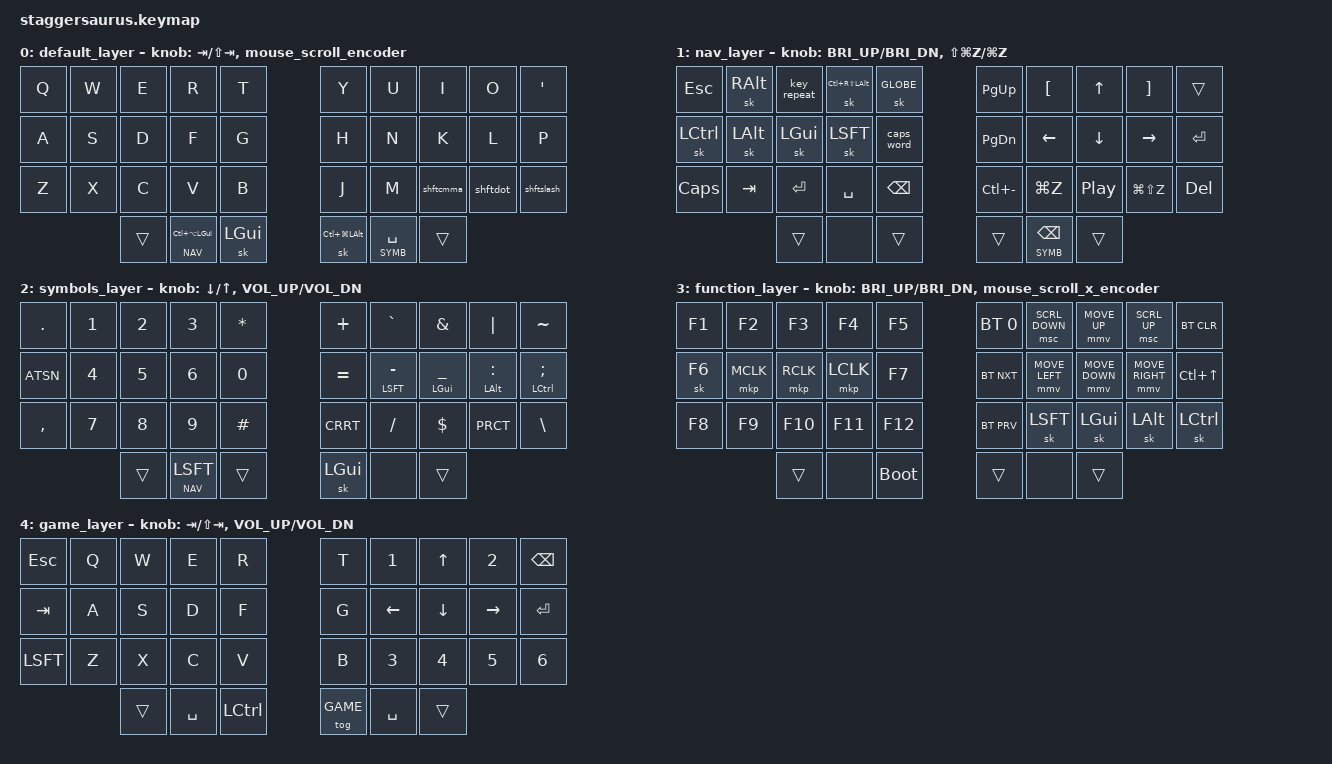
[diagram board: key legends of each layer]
/*
 * Copyright (c) 2020 The ZMK Contributors
 *
 * SPDX-License-Identifier: MIT
 */

#include <behaviors.dtsi>
#include <dt-bindings/zmk/keys.h>
#include <dt-bindings/zmk/bt.h>

#define ZMK_POINTING_DEFAULT_MOVE_VAL 1800
#define ZMK_POINTING_DEFAULT_SCRL_VAL 20
#include <dt-bindings/zmk/pointing.h>

#define DEFAULT 0
#define NAV 1
// #define NUMB 3
#define SYMB 2
#define FUNC 3
#define GAME 4

&sk {
  release-after-ms = <500>;
  quick-release;
};

&sl {
  release-after-ms = <500>;
};

&lt {
  flavor = "balanced";
  quick-tap-ms = <200>;
};

&mmv {
  // trigger-period-ms = <2>;
  // time-to-max-speed-ms = <2>;
  acceleration-exponent = <1>;
};

/ {
  combos {
    compatible = "zmk,combos";
    z {
      timeout-ms = <40>;
      key-positions = <11 12>;
      bindings = <&kp Z>;
      layers = <DEFAULT>;
    };
    b {
      timeout-ms = <40>;
      key-positions = <12 13>;
      bindings = <&kp B>;
      layers = <DEFAULT>;
    };
    shrtct {
      timeout-ms = <40>;
      key-positions = <6 7>;
      bindings = <&sk LC(LA(LGUI))>;
      layers = <DEFAULT>;
    };
    j {
      timeout-ms = <40>;
      key-positions = <16 17>;
      bindings = <&kp J>;
      layers = <DEFAULT>;
    };
    slash {
      timeout-ms = <40>;
      key-positions = <17 18>;
      bindings = <&kp FSLH>;
      layers = <DEFAULT>;
    };

    britup {
      timeout-ms = <50>;
      key-positions = <1 2 3>;
      bindings = <&kp C_BRI_UP>;
      layers = <DEFAULT>;
    };
    britdn {
      timeout-ms = <50>;
      key-positions = <21 22 23>;
      bindings = <&kp C_BRI_DN>;
      layers = <DEFAULT>;
    };
    volup {
      timeout-ms = <50>;
      key-positions = <6 7 8>;
      bindings = <&kp C_VOL_UP>;
      layers = <DEFAULT>;
    };
    volmt {
      timeout-ms = <50>;
      key-positions = <16 17 18>;
      bindings = <&kp C_MUTE>;
      layers = <DEFAULT>;
    };
    voldn {
      timeout-ms = <50>;
      key-positions = <26 27 28>;
      bindings = <&kp C_VOL_DN>;
      layers = <DEFAULT>;
    };

    codeprev {
      timeout-ms = <40>;
      key-positions = <6 7>;
      bindings = <&kp LC(MINUS)>;
      layers = <NAV>;
    };
    codenext {
      timeout-ms = <40>;
      key-positions = <7 8>;
      bindings = <&kp LC(LS(MINUS))>;
      layers = <NAV>;
    };
    prev {
      timeout-ms = <40>;
      key-positions = <26 27>;
      bindings = <&kp C_PREV>;
      layers = <NAV>;
    };
    next {
      timeout-ms = <40>;
      key-positions = <27 28>;
      bindings = <&kp C_NEXT>;
      layers = <NAV>;
    };

    lpar {
      timeout-ms = <40>;
      key-positions = <12 13>;
      bindings = <&kp LPAR>;
      layers = <SYMB>;
    };
    rpar {
      timeout-ms = <40>;
      key-positions = <16 17>;
      bindings = <&kp RPAR>;
      layers = <SYMB>;
    };
    lbkt {
      timeout-ms = <40>;
      key-positions = <11 12>;
      bindings = <&kp LBKT>;
      layers = <SYMB>;
    };
    rbkt {
      timeout-ms = <40>;
      key-positions = <17 18>;
      bindings = <&kp RBKT>;
      layers = <SYMB>;
    };
    lbrc {
      timeout-ms = <40>;
      key-positions = <2 3>;
      bindings = <&kp LBRC>;
      layers = <SYMB>;
    };
    rbrc {
      timeout-ms = <40>;
      key-positions = <6 7>;
      bindings = <&kp RBRC>;
      layers = <SYMB>;
    };
    lt {
      timeout-ms = <40>;
      key-positions = <1 2>;
      bindings = <&kp LT>;
      layers = <SYMB>;
    };
    gt {
      timeout-ms = <40>;
      key-positions = <7 8>;
      bindings = <&kp GT>;
      layers = <SYMB>;
    };

    cmb_btclr {
      timeout-ms = <40>;
      key-positions = <10 19>;
      bindings = <&bt BT_CLR>;
      layers = <FUNC>;
    };
    cmb_scrl_left {
      timeout-ms = <40>;
      key-positions = <7 8>;
      bindings = <&msc SCRL_LEFT>;
      layers = <FUNC>;
    };
    cmb_scrl_right {
      timeout-ms = <40>;
      key-positions = <6 7>;
      bindings = <&msc SCRL_RIGHT>;
      layers = <FUNC>;
    };
  };

  // Maybe put these in combos if no encoders
  // &kp C_BRI_UP  &kp C_BRI_DN  &kp C_VOL_DN  &kp C_MUTE  &kp C_VOL_UP
  behaviors {
    ml: mod_layer {
      compatible = "zmk,behavior-hold-tap";
      #binding-cells = <2>;
      flavor = "hold-preferred";
      tapping-term-ms = <150>;
      quick-tap-ms = <200>;
      bindings = <&mo>, <&sk>;
    };
    shftcmma: shift_comma {
      compatible = "zmk,behavior-mod-morph";
      #binding-cells = <0>;
      bindings = <&kp CMMA>, <&kp QMARK>;
      mods = <(MOD_LSFT)>;
    };
    shftdot: shift_dot {
      compatible = "zmk,behavior-mod-morph";
      #binding-cells = <0>;
      bindings = <&kp DOT>, <&kp BANG>;
      mods = <(MOD_LSFT)>;
    };
    shftslash: shift_slash {
      compatible = "zmk,behavior-mod-morph";
      #binding-cells = <0>;
      bindings = <&kp FSLH>, <&kp UNDER>;
      mods = <(MOD_LSFT)>;
    };
    mouse_scroll_encoder: mouse_scroll_encoder {
      compatible = "zmk,behavior-sensor-rotate";
      #sensor-binding-cells = <0>;
      tap-ms = <80>;
      bindings = <&msc SCRL_UP>, <&msc SCRL_DOWN>;
    };
    mouse_scroll_x_encoder: mouse_scroll_x_encoder {
      compatible = "zmk,behavior-sensor-rotate";
      #sensor-binding-cells = <0>;
      tap-ms = <80>;
      bindings = <&msc SCRL_LEFT>, <&msc SCRL_RIGHT>;
    };
    // mouse_move_x_encoder: mouse_move_x_encoder {
    //   compatible = "zmk,behavior-sensor-rotate";
    //   #sensor-binding-cells = <0>;
    //   tap-ms = <40>;
    //   bindings = <&mmv MOVE_RIGHT>, <&mmv MOVE_LEFT>;
    // };
    // mouse_move_y_encoder: mouse_move_y_encoder {
    //   compatible = "zmk,behavior-sensor-rotate";
    //   #sensor-binding-cells = <0>;
    //   tap-ms = <40>;
    //   bindings = <&mmv MOVE_DOWN>, <&mmv MOVE_UP>;
    // };

    conditional_layers {
      compatible = "zmk,conditional-layers";
      tri_layer {
        if-layers = <NAV SYMB>;
        then-layer = <FUNC>;
      };
    };

  };

  keymap {
    compatible = "zmk,keymap";
    default_layer {
      bindings = <
        &kp Q  &kp W  &kp E  &kp R  &kp T           &kp Y  &kp U  &kp I   &kp O     &kp QUOT
        &kp A  &kp S  &kp D  &kp F  &kp G           &kp H  &kp N  &kp K   &kp L     &kp P
        &kp Z  &kp X  &kp C  &kp V  &kp B           &kp J  &kp M  &shftcmma  &shftdot  &shftslash
            &trans  &ml NAV LC(LA(LGUI))  &sk LGUI          &sk LC(LG(LALT))  &lt SYMB SPACE  &trans
      >;
      sensor-bindings = <&inc_dec_kp TAB LS(TAB) &mouse_scroll_encoder>;
    };

    nav_layer {
      bindings = <
        &kp ESC   &sk RALT  &key_repeat  &sk LC(RS(LALT))  &sk GLOBE        &kp PG_UP     &kp LBKT        &kp UP          &kp RBKT        &trans
        &sk LCTL  &sk LALT  &sk LGUI      &sk LSFT    &caps_word            &kp PG_DN     &kp LEFT        &kp DOWN        &kp RIGHT       &kp ENTER
        &kp CAPS   &kp TAB   &kp ENTER     &kp SPC     &kp BKSP              &kp LC(MINUS)  &kp LG(Z)      &kp C_PP        &kp LG(LS(Z))        &kp DEL
                                        &trans  &none  &trans               &trans  &lt SYMB BKSP  &trans
      >;
      sensor-bindings = <&inc_dec_kp C_BRI_UP C_BRI_DN &inc_dec_kp LS(LG(Z)) LG(Z)>;
    };

    symbols_layer {
      bindings = <
        &kp DOT    &kp N1  &kp N2  &kp N3  &kp STAR       &kp PLUS   &kp GRAV   &kp AMPS   &kp PIPE   &kp TILDE
        &kp ATSN    &kp N4  &kp N5  &kp N6  &kp N0        &kp EQUAL  &mt LSFT MINUS  &mt LGUI UNDER  &mt LALT COLON   &mt LCTL SEMI
        &kp CMMA    &kp N7  &kp N8  &kp N9  &kp HASH      &kp CRRT   &kp FSLH   &kp DLLR   &kp PRCT  &kp BSLH
                          &trans  &ml NAV LSFT  &trans    &sk LGUI  &none  &trans
      >;
      sensor-bindings = <&inc_dec_kp DOWN UP &inc_dec_kp C_VOL_UP C_VOL_DN>;
    };

        // &kp F1  &kp F2    &kp F3    &kp F4    &bt BT_SEL 0         &kp C_BRI_UP  &kp C_VOL_DN  &kp C_MUTE  &kp C_VOL_UP  &tog GAME
        // &kp F5  &kp F6    &kp F7    &kp F8    &bt BT_NXT           &kp C_BRI_DN  &kp LSFT      &kp LGUI    &kp LALT      &kp LCTL
        // &kp F9  &kp F10   &kp F11   &kp F12   &bt BT_PRV           &sys_reset    &kp C_PREV    &kp C_PP    &kp C_NEXT    &tog ALT
    function_layer {
      bindings = <
        &kp F1  &kp F2     &kp F3     &kp F4     &kp F5        &bt BT_SEL 0   &msc SCRL_DOWN  &mmv MOVE_UP     &msc SCRL_UP     &bt BT_CLR
        &sk F6  &mkp MCLK  &mkp RCLK  &mkp LCLK  &kp F7        &bt BT_NXT     &mmv MOVE_LEFT  &mmv MOVE_DOWN   &mmv MOVE_RIGHT  &kp LC(UP)
        &kp F8  &kp F9     &kp F10    &kp F11    &kp F12       &bt BT_PRV     &sk LSFT        &sk LGUI         &sk LALT         &sk LCTL
                            &trans  &none  &bootloader            &trans  &none  &trans
      >;
      sensor-bindings = <&inc_dec_kp C_BRI_UP C_BRI_DN &mouse_scroll_x_encoder>;
    };

    game_layer {
      bindings = <
        &kp ESC  &kp Q  &kp W  &kp E  &kp R             &kp T  &kp N1  &kp UP  &kp N2  &kp BKSP
        &kp TAB  &kp A  &kp S  &kp D  &kp F             &kp G  &kp LEFT  &kp DOWN  &kp RIGHT  &kp ENTER
        &kp LSFT  &kp Z  &kp X  &kp C  &kp V            &kp B  &kp N3  &kp N4  &kp N5  &kp N6
                    &trans  &kp SPC  &kp LCTL           &tog GAME  &kp SPC &trans
      >;
      sensor-bindings = <&inc_dec_kp TAB LS(TAB) &inc_dec_kp C_VOL_UP C_VOL_DN>;
    };
  };
};
